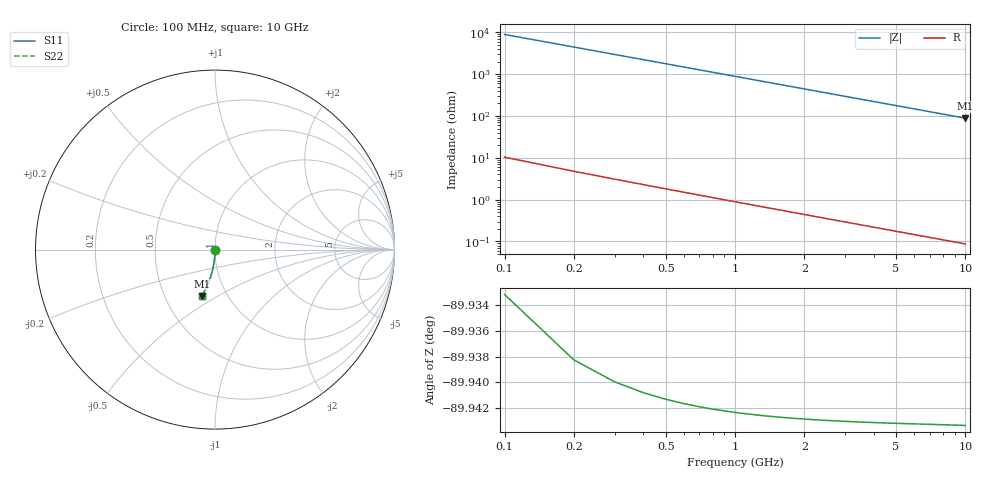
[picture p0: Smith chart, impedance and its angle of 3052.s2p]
# Hz S RI R 50.00
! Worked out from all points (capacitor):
!   100 points, 100 MHz to 10 GHz, reference 50 ohm
!   read as one part in shunt: C = 180 fF near 100 MHz
!   lowest |Z| = 88.4 ohm at 10 GHz (marker M1)
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1e8  3.54e-06 -0.00278  1 -0.00286  1 -0.00286  3.54e-06 -0.00278
2e8  -2.31e-05 -0.00557  0.9999 -0.00573  0.9999 -0.00573  -2.31e-05 -0.00557
3e8  -6.57e-05 -0.00835  0.9999 -0.00859  0.9999 -0.00859  -6.57e-05 -0.00835
4e8  -0.000124 -0.0111  0.9998 -0.0115  0.9998 -0.0115  -0.000124 -0.0111
5e8  -0.000199 -0.0139  0.9998 -0.0143  0.9998 -0.0143  -0.000199 -0.0139
6e8  -0.000289 -0.0167  0.9997 -0.0172  0.9997 -0.0172  -0.000289 -0.0167
7e8  -0.000396 -0.0195  0.9996 -0.02  0.9996 -0.02  -0.000396 -0.0195
8e8  -0.000518 -0.0223  0.9995 -0.0229  0.9995 -0.0229  -0.000518 -0.0223
9e8  -0.000656 -0.025  0.9993 -0.0258  0.9993 -0.0258  -0.000656 -0.025
1.1e9  -0.00098 -0.0306  0.999 -0.0315  0.999 -0.0315  -0.00098 -0.0306
1.4e9  -0.00159 -0.0389  0.9984 -0.04  0.9984 -0.04  -0.00159 -0.0389
1.8e9  -0.00261 -0.05  0.9974 -0.0514  0.9974 -0.0514  -0.00261 -0.05
2.1e9  -0.00355 -0.0583  0.9964 -0.06  0.9964 -0.06  -0.00355 -0.0583
2.5e9  -0.00502 -0.0693  0.9949 -0.0713  0.9949 -0.0713  -0.00502 -0.0693
2.9e9  -0.00673 -0.0802  0.9932 -0.0825  0.9932 -0.0825  -0.00673 -0.0802
3.4e9  -0.00922 -0.0938  0.9907 -0.0966  0.9907 -0.0966  -0.00922 -0.0938
4.2e9  -0.014 -0.1154  0.986 -0.1187  0.986 -0.1187  -0.014 -0.1154
5.1e9  -0.0205 -0.1392  0.9795 -0.1433  0.9795 -0.1433  -0.0205 -0.1392
5.9e9  -0.0272 -0.1599  0.9727 -0.1647  0.9727 -0.1647  -0.0272 -0.1599
6.7e9  -0.0348 -0.1802  0.9651 -0.1856  0.9651 -0.1856  -0.0348 -0.1802
8.4e9  -0.0537 -0.2215  0.9463 -0.2283  0.9463 -0.2283  -0.0537 -0.2215
1e10  -0.0744 -0.2579  0.9255 -0.266  0.9255 -0.266  -0.0744 -0.2579
